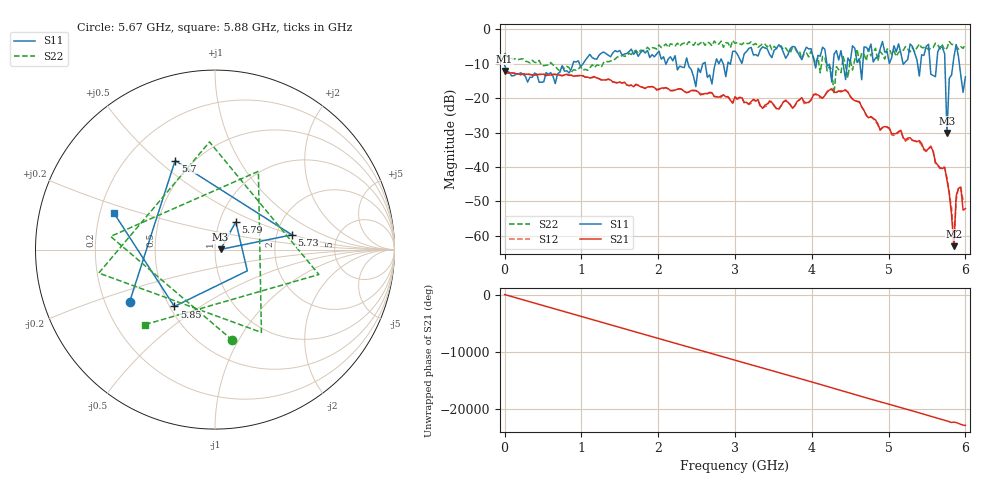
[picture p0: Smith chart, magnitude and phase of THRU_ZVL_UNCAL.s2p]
#  HZ  S  DB  R  50.0
! Rohde & Schwarz ZVL13 2Ports - Version 3.20 - 1303.6509k13 SN: 100953
! Date: 2024-10-09 07:57:40
! Data & Calibration Information:
! Trc1:S11(Cal Off) Trc4:S21(Cal Off) Trc2:S12(Cal Off) Trc3:S22(Cal Off)
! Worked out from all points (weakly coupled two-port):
!   201 points, 9 kHz to 6 GHz, reference 50 ohm
!   highest |S21| = -12.12 dB at 9 kHz (marker M1); lowest = -63.0 dB at 5.85 GHz (marker M2)
!   lowest |S11| = -30.1 dB at 5.76 GHz (marker M3), VSWR 1.06, Z = 53.2 + j0.113 ohm
!   |S11| at or under -10 dB: start of sweep to 891.6 MHz; 2.237 GHz to 2.353 GHz (115.9 MHz wide, 5.05 % of centre); 2.389 GHz to 2.586 GHz (197 MHz wide, 7.92 % of centre) (the widest 3 of 18)
!   |S22| runs from -18.8 to -3.3 dB; largest |S21 - S12| = 0.0059
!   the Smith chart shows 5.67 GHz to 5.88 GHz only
!   S11 on the Smith chart (normalised r, x): 5.67 GHz: 0.30, -0.26; 5.7 GHz: 0.41, +0.57; 5.73 GHz: 2.43, +0.49; 5.79 GHz: 1.20, +0.38; 5.85 GHz: 0.53, -0.39; 5.88 GHz: 0.26, +0.16
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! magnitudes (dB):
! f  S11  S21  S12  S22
! 9 kHz  -10.5  -12.1  -12.1  -6.9
! 1.02 GHz  -10.1  -13.6  -13.5  -12.0
! 2.01 GHz  -6.4  -17.5  -17.3  -4.6
! 2.49 GHz  -16.7  -17.8  -17.9  -3.7
! 3 GHz  -6.4  -19.6  -20.0  -4.1
! 4.02 GHz  -8.3  -19.2  -19.0  -8.1
! 4.26 GHz  -15.4  -17.5  -17.3  -11.9
! 4.29 GHz  -7.3  -18.3  -18.0  -18.8
! 4.41 GHz  -10.4  -17.9  -17.6  -8.0
! 5.01 GHz  -10.0  -28.7  -29.0  -5.7
! 5.28 GHz  -4.3  -31.5  -31.9  -6.6
! 5.4 GHz  -13.6  -32.3  -32.8  -4.3
! 5.52 GHz  -4.4  -34.7  -34.6  -6.1
! 5.61 GHz  -13.8  -38.6  -39.0  -4.1
! 5.67 GHz  -5.1  -40.3  -40.4  -5.8
! 5.7 GHz  -5.3  -40.5  -39.8  -4.6
! 5.73 GHz  -7.2  -40.1  -40.1  -6.0
! 5.76 GHz  -30.1  -43.8  -43.2  -5.5
! 5.79 GHz  -14.3  -47.7  -47.6  -3.6
! 5.85 GHz  -8.2  -63.0  -62.4  -4.5
! 5.88 GHz  -4.5  -48.4  -49.6  -4.8
! 6 GHz  -13.9  -52.1  -50.3  -4.2
